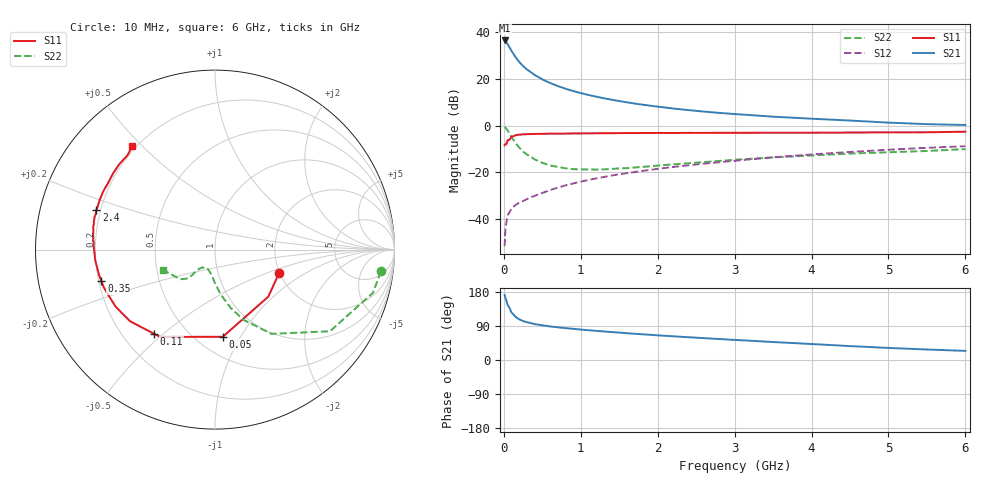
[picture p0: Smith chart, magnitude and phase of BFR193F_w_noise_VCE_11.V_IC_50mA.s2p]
! Infineon Technologies  Discrete & RF Semiconductors
! BFR193F
! VCE =  11. V,  IC =  50 mA
! Common Emitter S-Parameters:  Jan 2017
# GHz  S  MA  R  50
!  f  S11  S21  S12  S22
! GHz  MAG  ANG  MAG  ANG  MAG  ANG  MAG  ANG
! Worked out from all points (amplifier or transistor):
!   77 points, 10 MHz to 6 GHz, reference 50 ohm
!   highest |S21| = 36.5 dB at 10 MHz (marker M1)
!   |S21| within 3 dB of that: start of sweep to 74.01 MHz
!   unconditionally stable (mu >= 1): 938.1 MHz to 2.646 GHz
!   at 130 MHz: K = 0.43, MSG = 32.6 dB, |S12| = -34.7 dB
!   at 2.2 GHz: K = 1.02, MAG = 11.7 dB, |S12| = -17.8 dB
!   at 6 GHz: K = 0.83, MSG = 4.6 dB, |S12| = -8.9 dB
!   lowest NFmin = 1.48 dB at 450 MHz
!   S11 on the Smith chart (normalised r, x): 10 MHz: 1.99, -0.61; 50 MHz: 0.66, -0.84; 110 MHz: 0.33, -0.47; 350 MHz: 0.21, -0.13; 2.4 GHz: 0.18, +0.16; 6 GHz: 0.18, +0.47
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0.01  0.38 -20.1  66.55 171.7  0.0026 80.4  0.9323 -7.5
0.02  0.3964 -41.4  64.17 164.1  0.0058 75.8  0.9124 -15.3
0.05  0.4876 -84.9  55.37 145.1  0.0119 63.5  0.7859 -35.4
0.1  0.5749 -122.2  39.66 124.8  0.0164 52.6  0.5647 -56.2
0.11  0.5791 -125.9  37.53 123.1  0.0171 51.9  0.5349 -58.0
0.15  0.6192 -139.9  29.44 114.0  0.0197 49.4  0.4231 -67.8
0.2  0.6383 -150.0  23.07 107.3  0.0223 50.3  0.3379 -74.8
0.25  0.6456 -156.7  18.83 102.8  0.0241 51.4  0.2774 -79.9
0.3  0.6543 -161.2  15.92 99.6  0.0265 55.4  0.2395 -83.8
0.35  0.6567 -164.4  14 97.5  0.0288 56.9  0.2136 -86.4
0.4  0.6612 -167.6  12.1 94.7  0.0312 58.2  0.1882 -89.8
0.5  0.6644 -171.6  9.756 91.5  0.0359 62.0  0.1587 -94.4
0.6  0.6697 -174.8  8.175 88.6  0.0413 64.7  0.1399 -98.7
0.8  0.6728 -179.3  6.162 84.2  0.052 67.7  0.1211 -106.4
1.1  0.6803 175.5  4.519 78.6  0.0683 70.8  0.1148 -115.3
1.5  0.6877 170.4  3.345 72.3  0.0901 72.4  0.1205 -123.7
2.1  0.6941 164.2  2.428 63.9  0.1236 73.0  0.1427 -129.9
2.4  0.6973 161.6  2.141 60.1  0.1405 72.9  0.1555 -131.4
3.1  0.6998 155.7  1.719 52.0  0.1818 72.0  0.189 -131.8
4.1  0.7028 147.1  1.376 41.1  0.2462 68.7  0.2328 -135.6
5.1  0.7147 137.1  1.137 31.0  0.3088 63.7  0.271 -147.2
6  0.7389 128.6  1.029 24.0  0.3605 58.6  0.3131 -159.1
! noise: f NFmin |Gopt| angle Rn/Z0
0.45  1.48  0.47  -179  0.07
0.9  1.56  0.48  -178  0.08
1.9  2.14  0.6  -163  0.09
2.4  2.45  0.62  -155  0.15
